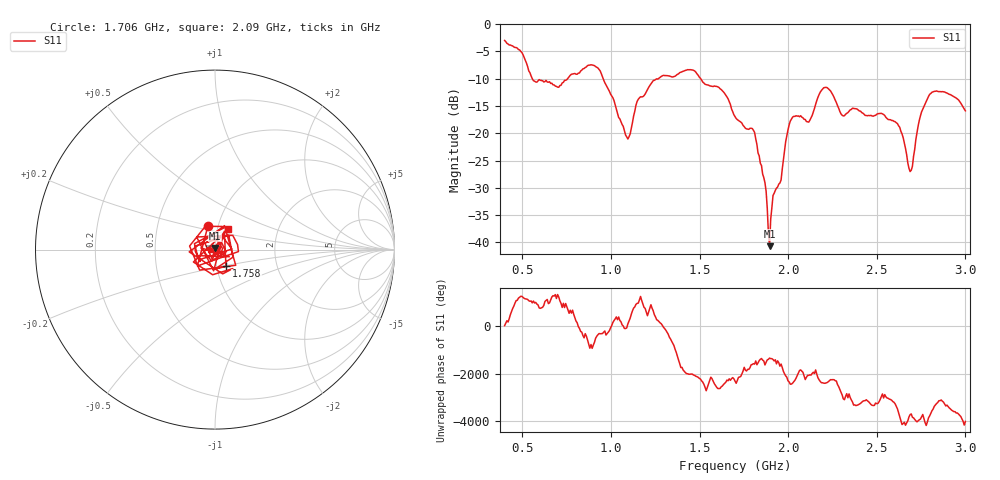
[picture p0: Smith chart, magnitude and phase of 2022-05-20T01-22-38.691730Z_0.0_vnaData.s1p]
!Created with skrf (http://scikit-rf.org).
# Hz S RI R 50.0
!freq ReS11 ImS11
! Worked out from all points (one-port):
!   401 points, 400 MHz to 3 GHz, reference 50 ohm
!   lowest |S11| = -40.7 dB at 1.895 GHz (marker M1), VSWR 1.02, Z = 49.9 + j0.919 ohm
!   |S11| at or under -10 dB: 556.5 MHz to 755 MHz (198.5 MHz wide, 30.3 % of centre); 956.2 MHz to 1.267 GHz (310.8 MHz wide, 28 % of centre); 1.507 GHz to end of sweep
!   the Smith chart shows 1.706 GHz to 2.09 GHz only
!   S11 on the Smith chart (normalised r, x): 1.706 GHz: 0.89, +0.24; 1.758 GHz: 1.11, -0.21; 2.09 GHz: 1.12, +0.26
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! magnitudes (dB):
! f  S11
! 400 MHz  -3.0
! 491 MHz  -5.0
! 569 MHz  -10.4
! 725 MHz  -10.8
! 913.5 MHz  -7.8
! 1.05 GHz  -17.3
! 1.095 GHz  -21.0
! 1.154 GHz  -13.8
! 1.226 GHz  -11.0
! 1.375 GHz  -9.2
! 1.609 GHz  -11.6
! 1.7 GHz  -16.9
! 1.706 GHz  -17.3
! 1.758 GHz  -19.1
! 1.81 GHz  -19.8
! 1.863 GHz  -28.1
! 1.895 GHz  -40.7
! 2.025 GHz  -17.0
! 2.09 GHz  -17.4
! 2.207 GHz  -11.6
! 2.304 GHz  -16.7
! 2.35 GHz  -15.7
! 2.603 GHz  -17.9
! 2.675 GHz  -25.4
! 2.695 GHz  -26.8
! 2.747 GHz  -16.8
! 2.805 GHz  -12.7
! 3 GHz  -15.9
